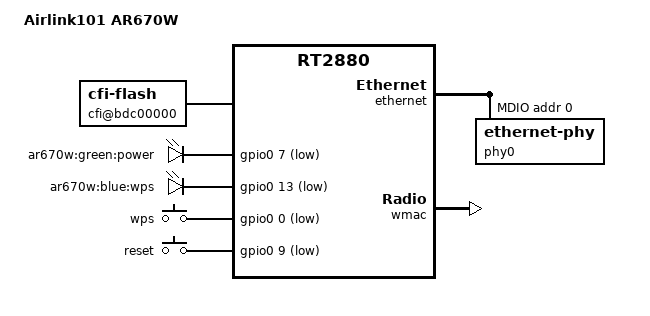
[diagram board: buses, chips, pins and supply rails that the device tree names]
/dts-v1/;

#include "rt2880.dtsi"

/ {
	compatible = "AR670W", "ralink,rt2880-soc";
	model = "Airlink101 AR670W";

	cfi@bdc00000 {
		compatible = "cfi-flash";
		reg = <0xbc400000 0x800000>;
		bank-width = <2>;
		#address-cells = <1>;
		#size-cells = <1>;

		u-boot@0 {
			reg = <0x0 0x30000>;
			label = "u-boot";
			read-only;
		};

		factory: factory@30000 {
			reg = <0x30000 0x10000>;
			label = "factory";
			read-only;
		};

		firmware@40000 {
			reg = <0x40000 0x3c0000>;
			label = "firmware";
		};
	};

	gpio-leds {
		compatible = "gpio-leds";

		status {
			label = "ar670w:green:power";
			gpios = <&gpio0 7 1>;
		};

		wpsblue {
			label = "ar670w:blue:wps";
			gpios = <&gpio0 13 1>;
		};
	};

	gpio-keys-polled {
		compatible = "gpio-keys-polled";
		#address-cells = <1>;
		#size-cells = <0>;
		poll-interval = <100>;

		wps {
			label = "wps";
			gpios = <&gpio0 0 1>;
			linux,code = <0x211>;
		};

		reset {
			label = "reset";
			gpios = <&gpio0 9 1>;
			linux,code = <0x198>;
		};
	};
};

&gpio0 {
	status = "okay";
};

&pinctrl {
	state_default: pinctrl0 {
		gpio {
			ralink,group = "i2c", "spi", "uartlite";
			ralink,function = "gpio";
		};
	};
};

&ethernet {
	status = "okay";
	mtd-mac-address = <&factory 0x2004>;

	port@0 {
		phy-handle = <&phy0>;
		phy-mode = "mii";
	};

	mdio-bus {
		status = "okay";

		phy0: ethernet-phy@0 {
			phy-mode = "mii";
			reg = <0>;
		};
	};
};

&wmac {
	status = "okay";
	ralink,mtd-eeprom = <&factory 0x2000>;
};
